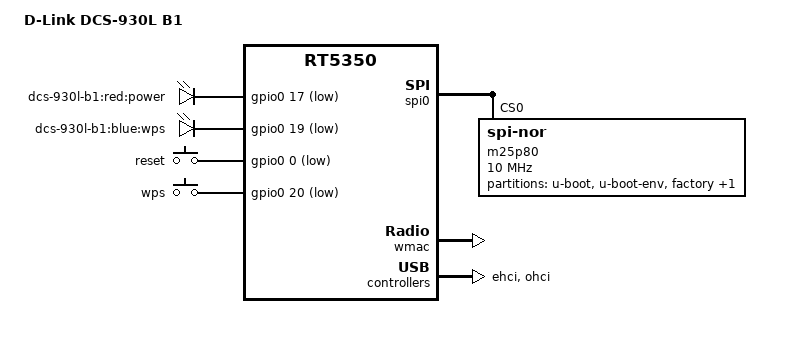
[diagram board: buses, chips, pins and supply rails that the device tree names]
/dts-v1/;

#include "rt5350.dtsi"

/ {
	compatible = "DCS-930L-B1", "ralink,rt5350-soc";
	model = "D-Link DCS-930L B1";

	gpio-leds {
		compatible = "gpio-leds";

		power {
			label = "dcs-930l-b1:red:power";
			gpios = <&gpio0 17 1>;
		};

		wps {
			label = "dcs-930l-b1:blue:wps";
			gpios = <&gpio0 19 1>;
		};
	};

	gpio-keys-polled {
		compatible = "gpio-keys-polled";
		#address-cells = <1>;
		#size-cells = <0>;
		poll-interval = <20>;

		reset {
			label = "reset";
			gpios = <&gpio0 0 1>;
			linux,code = <0x198>;
		};

		wps {
			label = "wps";
			gpios = <&gpio0 20 1>;
			linux,code = <0x211>;
		};
	};
};

&spi0 {
	status = "okay";

	m25p80@0 {
		#address-cells = <1>;
		#size-cells = <1>;
		compatible = "jedec,spi-nor";
		reg = <0>;
		linux,modalias = "m25p80", "s25fl064k";
		spi-max-frequency = <10000000>;

		partition@0 {
			label = "u-boot";
			reg = <0x0 0x30000>;
			read-only;
		};

		partition@30000 {
			label = "u-boot-env";
			reg = <0x30000 0x10000>;
			read-only;
		};

		factory: partition@40000 {
			label = "factory";
			reg = <0x40000 0x10000>;
			read-only;
		};

		partition@50000 {
			label = "firmware";
			reg = <0x50000 0x3b0000>;
		};
	};
};

&pinctrl {
	state_default: pinctrl0 {
		gpio {
			ralink,group = "i2c", "jtag", "uartf", "led";
			ralink,function = "gpio";
		};
	};
};

&ethernet {
	mtd-mac-address = <&factory 0x4>;
};

&esw {
	mediatek,portmap = <0x2f>;
};

&wmac {
	ralink,mtd-eeprom = <&factory 0>;
};

&ehci {
	status = "okay";
};

&ohci {
	status = "okay";
};
